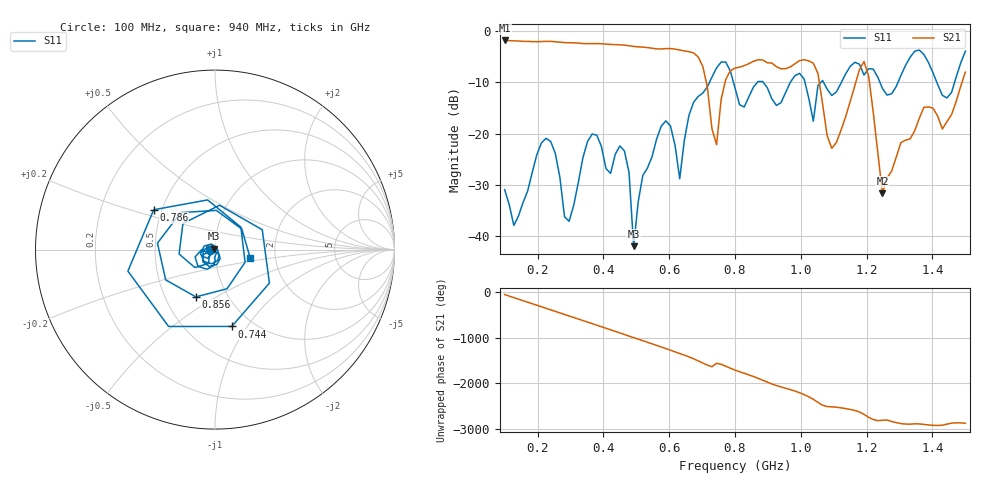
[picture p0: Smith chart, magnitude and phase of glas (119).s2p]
! NanoVNA-App
! Date: 2025-09-25 15:56:24
! Start: 100MHz Stop: 1,5GHz Points: 101
! S-Parameter data: F S11 S21 S12 S22
# Hz S RI R 50
!  Frequency  S11_Real  S11_Imag  S21_Real  S21_Imag  S12_Real  S12_Imag  S22_Real  S22_Imag
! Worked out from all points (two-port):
!   101 points, 100 MHz to 1.5 GHz, reference 50 ohm
!   highest |S21| = -1.80 dB at 100 MHz (marker M1); lowest = -31.7 dB at 1.248 GHz (marker M2)
!   |S21| within 3 dB of the highest: start of sweep to 684.2 MHz
!   lowest |S11| = -42.0 dB at 492 MHz (marker M3), VSWR 1.02, Z = 49.5 + j0.603 ohm
!   |S11| at or under -10 dB: start of sweep to 722.5 MHz; 795.4 MHz to 867.9 MHz (72.43 MHz wide, 8.71 % of centre); 886 MHz to 967.8 MHz (81.8 MHz wide, 8.82 % of centre) (the widest 3 of 7)
!   S12 and S22 are empty: the file has one direction only
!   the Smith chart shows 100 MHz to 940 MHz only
!   S11 on the Smith chart (normalised r, x): 100 MHz: 0.95, -0.01; 744 MHz: 0.80, -0.85; 786 MHz: 0.45, +0.24; 856 MHz: 0.71, -0.41; 940 MHz: 1.48, -0.14
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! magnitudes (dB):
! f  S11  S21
! 100 MHz  -31.0  -1.8
! 128 MHz  -38.0  -1.9
! 226 MHz  -20.9  -2.0
! 296 MHz  -37.1  -2.2
! 338 MHz  -24.7  -2.4
! 464 MHz  -23.4  -2.7
! 492 MHz  -42.0  -3.0
! 576 MHz  -18.5  -3.5
! 632 MHz  -28.8  -3.7
! 702 MHz  -12.1  -6.8
! 744 MHz  -7.2  -22.2
! 786 MHz  -7.8  -7.7
! 800 MHz  -11.1  -7.2
! 856 MHz  -10.9  -5.9
! 940 MHz  -13.9  -7.3
! 996 MHz  -8.2  -5.8
! 1.038 GHz  -17.6  -6.2
! 1.094 GHz  -12.6  -22.9
! 1.192 GHz  -8.6  -5.9
! 1.248 GHz  -11.2  -31.7
! 1.276 GHz  -12.2  -27.3
! 1.5 GHz  -3.9  -8.0
